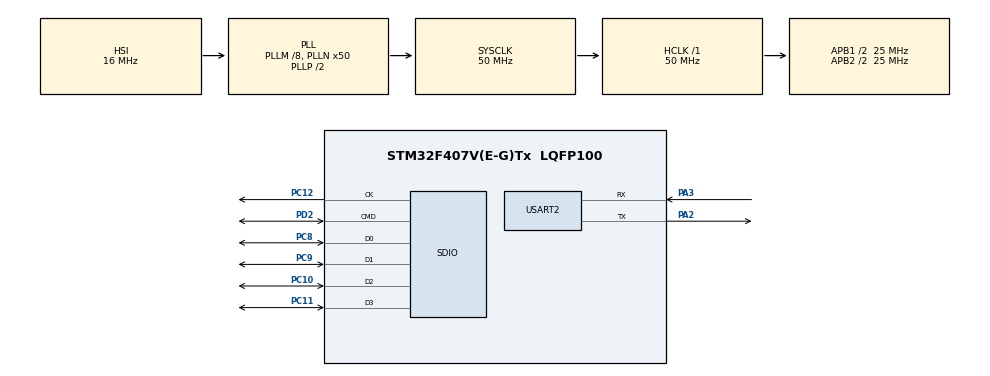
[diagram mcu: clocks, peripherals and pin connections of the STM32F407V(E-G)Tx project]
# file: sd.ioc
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Mcu.Family=STM32F4
Mcu.Name=STM32F407V(E-G)Tx
Mcu.Package=LQFP100
NVIC.PriorityGroup=NVIC_PRIORITYGROUP_4
NVIC.SDIO_IRQn=true\:0\:0\:false\:false\:true\:true\:true
PA2.Mode=Asynchronous
PA2.Signal=USART2_TX
PA3.Mode=Asynchronous
PA3.Signal=USART2_RX
PC10.Mode=SD_4_bits_Wide_bus
PC10.Signal=SDIO_D2
PC11.Mode=SD_4_bits_Wide_bus
PC11.Signal=SDIO_D3
PC12.Mode=SD_4_bits_Wide_bus
PC12.Signal=SDIO_CK
PC8.Mode=SD_4_bits_Wide_bus
PC8.Signal=SDIO_D0
PC9.Mode=SD_4_bits_Wide_bus
PC9.Signal=SDIO_D1
PD2.Mode=SD_4_bits_Wide_bus
PD2.Signal=SDIO_CMD
PH0-OSC_IN.Mode=HSE-External-Oscillator
PH0-OSC_IN.Signal=RCC_OSC_IN
PH1-OSC_OUT.Mode=HSE-External-Oscillator
PH1-OSC_OUT.Signal=RCC_OSC_OUT
ProjectManager.HeapSize=0x200
ProjectManager.StackSize=0x400
ProjectManager.TargetToolchain=Makefile
RCC.48MHZClocksFreq_Value=33333333.333333332
RCC.AHBFreq_Value=50000000
RCC.APB1CLKDivider=RCC_HCLK_DIV2
RCC.APB1Freq_Value=25000000
RCC.APB1TimFreq_Value=50000000
RCC.APB2CLKDivider=RCC_HCLK_DIV2
RCC.APB2Freq_Value=25000000
RCC.APB2TimFreq_Value=50000000
RCC.CortexFreq_Value=50000000
RCC.HCLKFreq_Value=50000000
RCC.HSE_VALUE=25000000
RCC.HSI_VALUE=16000000
RCC.LSE_VALUE=32768
RCC.PLLM=8
RCC.PLLN=50
RCC.PLLQ=3
RCC.SYSCLKFreq_VALUE=50000000
RCC.SYSCLKSource=RCC_SYSCLKSOURCE_PLLCLK
RCC.VCOOutputFreq_Value=100000000
SDIO.ClockDiv=8
USART2.VirtualMode=VM_ASYNC
board=custom

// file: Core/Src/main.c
/* USER CODE BEGIN Header */
/**
  ******************************************************************************
  * @file           : main.c
  * @brief          : Main program body
  ******************************************************************************
  * @attention
  *
  * <h2><center>&copy; Copyright (c) 2022 STMicroelectronics.
  * All rights reserved.</center></h2>
  *
  * This software component is licensed by ST under BSD 3-Clause license,
  * the "License"; You may not use this file except in compliance with the
  * License. You may obtain a copy of the License at:
  *                        opensource.org/licenses/BSD-3-Clause
  *
  ******************************************************************************
  */
/* USER CODE END Header */
#include "main.h"
#include "sdio.h"
#include "usart.h"
#include "gpio.h"

/* USER CODE BEGIN Includes */
#include "retarget.h"
#include <stdio.h>

/* USER CODE END Includes */

void SystemClock_Config(void);

int main(void)
{

  /* MCU Configuration--------------------------------------------------------*/

  /* Reset of all peripherals, Initializes the Flash interface and the Systick. */
  HAL_Init();

  /* Configure the system clock */
  SystemClock_Config();

  /* Initialize all configured peripherals */
  MX_GPIO_Init();
  MX_SDIO_SD_Init();
  MX_USART2_UART_Init();
  /* USER CODE BEGIN 2 */
  RetargetInit(&huart2);
  printf("SDIO Example\r\n");

  uint8_t rx[512];
  uint8_t tx[512];
  for(int i = 0; i < 512; i++) tx[i] = i & 255;

	printf("Writing Data...\r\n");
	if(HAL_SD_WriteBlocks(&hsd, tx, 0, 1, HAL_MAX_DELAY) != HAL_OK)
    Error_Handler();

  printf("Reading Data...\r\n");
	if(HAL_SD_ReadBlocks(&hsd, rx, 0, 1, HAL_MAX_DELAY) != HAL_OK)
    Error_Handler();

  int flag = 0;
	for(uint16_t i = 0; i < 512; i++) {
		if (tx[i] != rx[i]) {
      flag = 1;
      break;
    }
  }

  if (flag) {
    printf("Data Mismatch!\r\n");
  } else {
    printf("Data Match!\r\n");
  }

  /* USER CODE END 2 */

  /* Infinite loop */
  while (1)
  {

  }
}

void SystemClock_Config(void)
{
  RCC_OscInitTypeDef RCC_OscInitStruct = {0};
  RCC_ClkInitTypeDef RCC_ClkInitStruct = {0};

  /** Configure the main internal regulator output voltage
  */
  __HAL_RCC_PWR_CLK_ENABLE();
  __HAL_PWR_VOLTAGESCALING_CONFIG(PWR_REGULATOR_VOLTAGE_SCALE1);
  /** Initializes the RCC Oscillators according to the specified parameters
  * in the RCC_OscInitTypeDef structure.
  */
  RCC_OscInitStruct.OscillatorType = RCC_OSCILLATORTYPE_HSI;
  RCC_OscInitStruct.HSIState = RCC_HSI_ON;
  RCC_OscInitStruct.HSICalibrationValue = RCC_HSICALIBRATION_DEFAULT;
  RCC_OscInitStruct.PLL.PLLState = RCC_PLL_ON;
  RCC_OscInitStruct.PLL.PLLSource = RCC_PLLSOURCE_HSI;
  RCC_OscInitStruct.PLL.PLLM = 8;
  RCC_OscInitStruct.PLL.PLLN = 50;
  RCC_OscInitStruct.PLL.PLLP = RCC_PLLP_DIV2;
  RCC_OscInitStruct.PLL.PLLQ = 3;
  if (HAL_RCC_OscConfig(&RCC_OscInitStruct) != HAL_OK)
  {
    Error_Handler();
  }
  /** Initializes the CPU, AHB and APB buses clocks
  */
  RCC_ClkInitStruct.ClockType = RCC_CLOCKTYPE_HCLK|RCC_CLOCKTYPE_SYSCLK
                              |RCC_CLOCKTYPE_PCLK1|RCC_CLOCKTYPE_PCLK2;
  RCC_ClkInitStruct.SYSCLKSource = RCC_SYSCLKSOURCE_PLLCLK;
  RCC_ClkInitStruct.AHBCLKDivider = RCC_SYSCLK_DIV1;
  RCC_ClkInitStruct.APB1CLKDivider = RCC_HCLK_DIV2;
  RCC_ClkInitStruct.APB2CLKDivider = RCC_HCLK_DIV2;

  if (HAL_RCC_ClockConfig(&RCC_ClkInitStruct, FLASH_LATENCY_1) != HAL_OK)
  {
    Error_Handler();
  }
}

void Error_Handler(void)
{
  __disable_irq();
  while (1)
  {
  }
}

/************************ (C) COPYRIGHT STMicroelectronics *****END OF FILE****/
